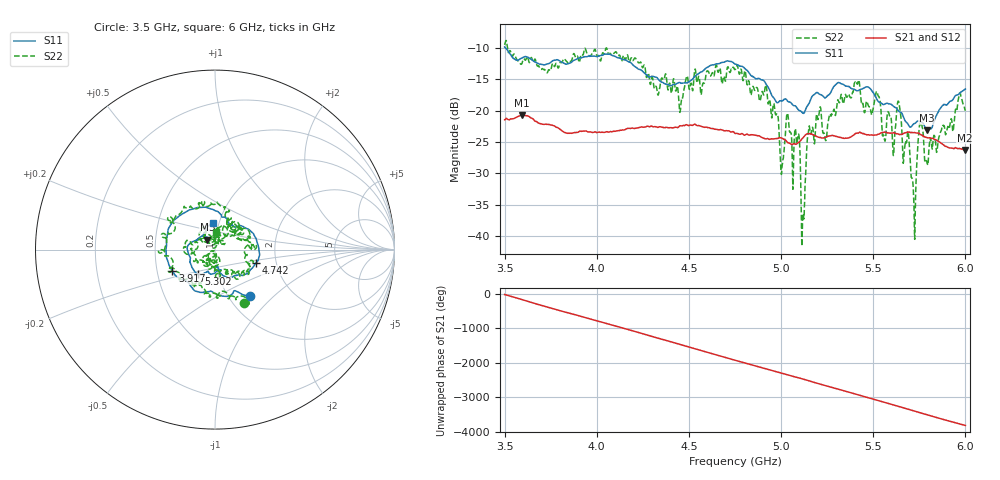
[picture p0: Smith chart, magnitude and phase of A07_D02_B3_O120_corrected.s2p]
! Created with skrf 1.9.0 (http://scikit-rf.org).
# Hz S RI R 50.0
!freq ReS11 ImS11 ReS21 ImS21 ReS12 ImS12 ReS22 ImS22
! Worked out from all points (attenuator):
!   1601 points, 3.5 GHz to 6 GHz, reference 50 ohm
!   highest |S21| = -20.72 dB at 3.592 GHz (marker M1); lowest = -26.3 dB at 5.997 GHz (marker M2)
!   lowest |S11| = -23.1 dB at 5.791 GHz (marker M3), VSWR 1.15, Z = 45.7 + j5.1 ohm
!   |S11| at or under -10 dB: 3.506 GHz to end of sweep
!   |S22| runs from -41.6 to -8.8 dB; largest |S21 - S12| = 0.0011
!   S11 on the Smith chart (normalised r, x): 3.5 GHz: 1.26, -0.72; 3.917 GHz: 0.60, -0.15; 4.742 GHz: 1.57, -0.24; 5.302 GHz: 0.80, -0.23; 6 GHz: 0.94, +0.29
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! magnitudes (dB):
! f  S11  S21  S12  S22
! 3.5 GHz  -9.8  -21.4  -21.4  -9.5
! 3.592 GHz  -11.6  -20.7  -20.7  -12.5
! 3.917 GHz  -11.5  -23.3  -23.3  -11.0
! 4.334 GHz  -15.0  -22.6  -22.6  -17.4
! 4.742 GHz  -12.4  -23.4  -23.4  -13.1
! 4.75 GHz  -12.5  -23.6  -23.5  -13.4
! 4.925 GHz  -16.1  -24.4  -24.4  -17.5
! 5.005 GHz  -18.4  -24.4  -24.3  -29.1
! 5.034 GHz  -18.4  -25.0  -24.9  -20.4
! 5.088 GHz  -19.6  -25.2  -25.2  -24.9
! 5.119 GHz  -20.4  -24.3  -24.2  -36.4
! 5.145 GHz  -19.1  -23.7  -23.6  -23.8
! 5.167 GHz  -17.7  -23.7  -23.7  -22.9
! 5.302 GHz  -15.7  -24.1  -24.1  -19.5
! 5.412 GHz  -16.8  -23.6  -23.6  -15.7
! 5.584 GHz  -18.9  -23.5  -23.5  -20.3
! 5.641 GHz  -20.1  -23.8  -23.7  -18.9
! 5.719 GHz  -22.1  -23.5  -23.4  -33.5
! 5.756 GHz  -21.8  -23.8  -23.7  -22.4
! 5.791 GHz  -23.1  -24.3  -24.2  -28.1
! 5.997 GHz  -16.6  -26.3  -26.2  -19.7
! 6 GHz  -16.5  -26.3  -26.2  -20.0
